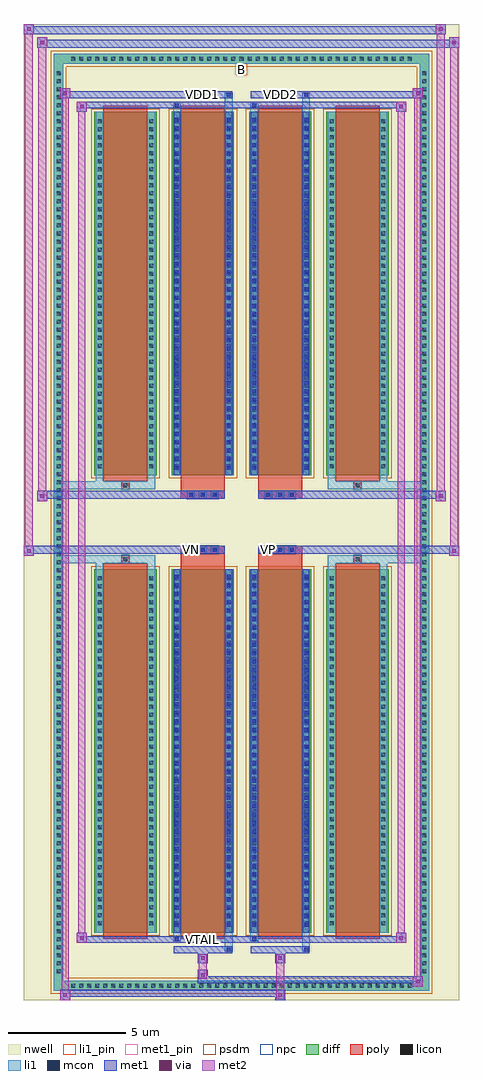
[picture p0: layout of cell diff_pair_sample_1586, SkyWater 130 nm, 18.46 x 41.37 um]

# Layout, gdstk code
import gdstk
lib = gdstk.Library(unit=1e-6, precision=5e-09)
def R(c, l, rs):  # rectangles x0, y0, x1, y1
    for r in rs: c.add(gdstk.rectangle(r[:2], r[2:], *l))
def A(c, l, x, y, w, h, nx, ny, dx, dy):  # array of equal rectangles
    R(c, l, [(x+i*dx, y+j*dy, x+i*dx+w, y+j*dy+h) for i in range(nx) for j in range(ny)])
def P(c, l, *ps):  # polygons
    for p in ps: c.add(gdstk.Polygon(p, *l))
nwell = (64, 20)
diff = (65, 20)
poly = (66, 20)
licon = (66, 44)
li1_pin = (67, 16)
li1 = (67, 20)
mcon = (67, 44)
met1_pin = (68, 16)
met1 = (68, 20)
via = (68, 44)
met2 = (69, 20)
psdm = (94, 20)
npc = (95, 20)

diff_pair_sample_1586 = lib.new_cell('diff_pair_sample_1586')
R(diff_pair_sample_1586, nwell, [(-9.23,-20.25,9.23,21.12), (-6.55,-18.44,-0.01,-0.8), (0.01,-18.44,6.55,-0.8), (-6.55,0.8,-0.01,18.44), (0.01,0.8,6.55,18.44)])
A(diff_pair_sample_1586, diff, -7.345, -19.85, 0.41, 0.41, 43, 2, 0.34, 39.29)
A(diff_pair_sample_1586, diff, -7.96, -19.245, 0.41, 0.41, 1, 113, 0, 0.34)
A(diff_pair_sample_1586, diff, 7.55, -19.245, 0.41, 0.41, 1, 113, 0, 0.34)
A(diff_pair_sample_1586, diff, -6.24, -17.395, 2.64, 15.41, 4, 2, 3.28, 19.38)
R(diff_pair_sample_1586, diff, [(-7.345,-19.85,7.345,-19.44), (-7.96,-19.245,-7.55,19.245), (7.55,-19.245,7.96,19.245), (-7.345,19.44,7.345,19.85)])
P(diff_pair_sample_1586, diff, [(7.96,19.85),(-7.96,19.85),(-7.96,-19.44),(-7.55,-19.44),(-7.55,19.44),(7.55,19.44),(7.55,-19.44),(-7.55,-19.44),(-7.96,-19.44),(-7.96,-19.85),(7.96,-19.85)])
A(diff_pair_sample_1586, poly, -5.85, -17.645, 1.86, 15.91, 4, 2, 3.28, 19.38)
A(diff_pair_sample_1586, poly, -2.305, -1.33, 0.33, 0.33, 3, 2, 0.5, 2.33)
A(diff_pair_sample_1586, poly, 0.975, -1.33, 0.33, 0.33, 3, 2, 0.5, 2.33)
R(diff_pair_sample_1586, poly, [(-5.085,-1.735,-4.755,-1.405), (-5.085,-1.735,-4.755,-1.405), (-2.57,-1.735,-0.71,-1.33), (0.71,-1.735,2.57,-1.33), (4.755,-1.735,5.085,-1.405), (4.755,-1.735,5.085,-1.405), (-2.57,-1.33,-0.71,-1), (0.71,-1.33,2.57,-1), (-2.57,1,-0.71,1.33), (0.71,1,2.57,1.33), (-2.57,1.33,-0.71,1.735), (0.71,1.33,2.57,1.735), (-5.085,1.405,-4.755,1.735), (-5.085,1.405,-4.755,1.735), (4.755,1.405,5.085,1.735), (4.755,1.405,5.085,1.735)])
A(diff_pair_sample_1586, licon, -7.225, -19.73, 0.17, 0.17, 43, 2, 0.34, 39.29)
A(diff_pair_sample_1586, licon, -7.84, -19.125, 0.17, 0.17, 1, 113, 0, 0.34)
A(diff_pair_sample_1586, licon, 7.67, -19.125, 0.17, 0.17, 1, 113, 0, 0.34)
A(diff_pair_sample_1586, licon, -6.1, -17.085, 0.17, 0.17, 1, 44, 0, 0.34)
A(diff_pair_sample_1586, licon, -3.91, -17.085, 0.17, 0.17, 1, 44, 0, 0.34)
A(diff_pair_sample_1586, licon, -2.82, -17.085, 0.17, 0.17, 1, 44, 0, 0.34)
A(diff_pair_sample_1586, licon, -0.63, -17.085, 0.17, 0.17, 1, 44, 0, 0.34)
A(diff_pair_sample_1586, licon, 0.46, -17.085, 0.17, 0.17, 1, 44, 0, 0.34)
A(diff_pair_sample_1586, licon, 2.65, -17.085, 0.17, 0.17, 1, 44, 0, 0.34)
A(diff_pair_sample_1586, licon, 3.74, -17.085, 0.17, 0.17, 1, 44, 0, 0.34)
A(diff_pair_sample_1586, licon, 5.93, -17.085, 0.17, 0.17, 1, 44, 0, 0.34)
A(diff_pair_sample_1586, licon, -2.225, -1.25, 0.17, 0.17, 3, 2, 0.5, 2.33)
A(diff_pair_sample_1586, licon, 1.055, -1.25, 0.17, 0.17, 3, 2, 0.5, 2.33)
A(diff_pair_sample_1586, licon, -6.1, 2.295, 0.17, 0.17, 1, 44, 0, 0.34)
A(diff_pair_sample_1586, licon, -3.91, 2.295, 0.17, 0.17, 1, 44, 0, 0.34)
A(diff_pair_sample_1586, licon, -2.82, 2.295, 0.17, 0.17, 1, 44, 0, 0.34)
A(diff_pair_sample_1586, licon, -0.63, 2.295, 0.17, 0.17, 1, 44, 0, 0.34)
A(diff_pair_sample_1586, licon, 0.46, 2.295, 0.17, 0.17, 1, 44, 0, 0.34)
A(diff_pair_sample_1586, licon, 2.65, 2.295, 0.17, 0.17, 1, 44, 0, 0.34)
A(diff_pair_sample_1586, licon, 3.74, 2.295, 0.17, 0.17, 1, 44, 0, 0.34)
A(diff_pair_sample_1586, licon, 5.93, 2.295, 0.17, 0.17, 1, 44, 0, 0.34)
R(diff_pair_sample_1586, licon, [(-5.005,-1.655,-4.835,-1.485), (4.835,-1.655,5.005,-1.485), (-5.005,1.485,-4.835,1.655), (4.835,1.485,5.005,1.655)])
R(diff_pair_sample_1586, li1_pin, [(-0.25,18.94,0.25,19.44)])
A(diff_pair_sample_1586, li1, -7.305, -19.81, 0.33, 0.33, 43, 2, 0.34, 39.29)
A(diff_pair_sample_1586, li1, -7.92, -19.205, 0.33, 0.33, 1, 113, 0, 0.34)
A(diff_pair_sample_1586, li1, 7.59, -19.205, 0.33, 0.33, 1, 113, 0, 0.34)
A(diff_pair_sample_1586, li1, -6.18, -17.165, 0.33, 0.33, 1, 44, 0, 0.34)
A(diff_pair_sample_1586, li1, -3.99, -17.165, 0.33, 0.33, 1, 44, 0, 0.34)
A(diff_pair_sample_1586, li1, -2.9, -17.165, 0.33, 0.33, 1, 44, 0, 0.34)
A(diff_pair_sample_1586, li1, -0.71, -17.165, 0.33, 0.33, 1, 44, 0, 0.34)
A(diff_pair_sample_1586, li1, 0.38, -17.165, 0.33, 0.33, 1, 44, 0, 0.34)
A(diff_pair_sample_1586, li1, 2.57, -17.165, 0.33, 0.33, 1, 44, 0, 0.34)
A(diff_pair_sample_1586, li1, 3.66, -17.165, 0.33, 0.33, 1, 44, 0, 0.34)
A(diff_pair_sample_1586, li1, 5.85, -17.165, 0.33, 0.33, 1, 44, 0, 0.34)
A(diff_pair_sample_1586, li1, -2.82, -17.155, 0.17, 0.17, 1, 42, 0, 0.36)
A(diff_pair_sample_1586, li1, -0.63, -17.155, 0.17, 0.17, 1, 42, 0, 0.36)
A(diff_pair_sample_1586, li1, 0.46, -17.155, 0.17, 0.17, 1, 42, 0, 0.36)
A(diff_pair_sample_1586, li1, 2.65, -17.155, 0.17, 0.17, 1, 42, 0, 0.36)
A(diff_pair_sample_1586, li1, -2.305, -1.33, 0.33, 0.33, 3, 2, 0.5, 2.33)
A(diff_pair_sample_1586, li1, 0.975, -1.33, 0.33, 0.33, 3, 2, 0.5, 2.33)
A(diff_pair_sample_1586, li1, -6.18, 2.215, 0.33, 0.33, 1, 44, 0, 0.34)
A(diff_pair_sample_1586, li1, -3.99, 2.215, 0.33, 0.33, 1, 44, 0, 0.34)
A(diff_pair_sample_1586, li1, -2.9, 2.215, 0.33, 0.33, 1, 44, 0, 0.34)
A(diff_pair_sample_1586, li1, -0.71, 2.215, 0.33, 0.33, 1, 44, 0, 0.34)
A(diff_pair_sample_1586, li1, 0.38, 2.215, 0.33, 0.33, 1, 44, 0, 0.34)
A(diff_pair_sample_1586, li1, 2.57, 2.215, 0.33, 0.33, 1, 44, 0, 0.34)
A(diff_pair_sample_1586, li1, 3.66, 2.215, 0.33, 0.33, 1, 44, 0, 0.34)
A(diff_pair_sample_1586, li1, 5.85, 2.215, 0.33, 0.33, 1, 44, 0, 0.34)
A(diff_pair_sample_1586, li1, -2.82, 2.225, 0.17, 0.17, 1, 42, 0, 0.36)
A(diff_pair_sample_1586, li1, -0.63, 2.225, 0.17, 0.17, 1, 42, 0, 0.36)
A(diff_pair_sample_1586, li1, 0.46, 2.225, 0.17, 0.17, 1, 42, 0, 0.36)
A(diff_pair_sample_1586, li1, 2.65, 2.225, 0.17, 0.17, 1, 42, 0, 0.36)
R(diff_pair_sample_1586, li1, [(-7.96,-19.85,-7.55,-19.44), (-7.96,-19.85,-7.55,-19.44), (-7.55,-19.85,7.55,-19.44), (7.55,-19.85,7.96,-19.44), (7.55,-19.85,7.96,-19.44), (-7.96,-19.44,-7.55,19.44), (7.55,-19.44,7.96,19.44), (-0.71,-18.2,-0.38,-17.395), (-0.63,-18.2,-0.46,-18.03), (2.57,-18.2,2.9,-17.395), (2.65,-18.2,2.82,-18.03), (-2.9,-17.77,-2.57,-17.395), (-2.82,-17.77,-2.65,-17.6), (0.38,-17.77,0.71,-17.395), (0.46,-17.77,0.63,-17.6), (-6.18,-17.395,-5.85,-1.985), (-3.99,-17.395,-3.66,-1.985), (-2.9,-17.395,-2.57,-1.985), (-0.71,-17.395,-0.38,-1.985), (0.38,-17.395,0.71,-1.985), (2.57,-17.395,2.9,-1.985), (3.66,-17.395,3.99,-1.985), (5.85,-17.395,6.18,-1.985), (-2.82,-17.155,-2.65,-2.225), (-0.63,-17.155,-0.46,-2.225), (0.46,-17.155,0.63,-2.225), (2.65,-17.155,2.82,-2.225), (-6.18,-1.985,-5.85,-1.405), (-3.99,-1.985,-3.66,-1.405), (3.66,-1.985,3.99,-1.405), (5.85,-1.985,6.18,-1.405), (-7.96,-1.735,-5.085,-1.405), (-6.18,-1.735,-5.085,-1.405), (-5.085,-1.735,-4.755,-1.405), (-4.755,-1.735,-3.66,-1.405), (3.66,-1.735,4.755,-1.405), (4.755,-1.735,5.085,-1.405), (4.755,-1.735,7.96,-1.405), (5.085,-1.735,6.18,-1.405), (-7.96,1.405,-5.085,1.735), (-6.18,1.405,-5.085,1.735), (-6.18,1.405,-5.85,1.985), (-5.085,1.405,-4.755,1.735), (-4.755,1.405,-3.66,1.735), (-3.99,1.405,-3.66,1.985), (3.66,1.405,4.755,1.735), (3.66,1.405,3.99,1.985), (4.755,1.405,5.085,1.735), (4.755,1.405,7.96,1.735), (5.085,1.405,6.18,1.735), (5.85,1.405,6.18,1.985), (-6.18,1.985,-5.85,17.395), (-3.99,1.985,-3.66,17.395), (-2.9,1.985,-2.57,17.395), (-0.71,1.985,-0.38,17.395), (0.38,1.985,0.71,17.395), (2.57,1.985,2.9,17.395), (3.66,1.985,3.99,17.395), (5.85,1.985,6.18,17.395), (-2.82,2.225,-2.65,17.155), (-0.63,2.225,-0.46,17.155), (0.46,2.225,0.63,17.155), (2.65,2.225,2.82,17.155), (-2.9,17.395,-2.57,17.77), (-0.71,17.395,-0.38,18.2), (0.38,17.395,0.71,17.77), (2.57,17.395,2.9,18.2), (-2.82,17.6,-2.65,17.77), (0.46,17.6,0.63,17.77), (-0.63,18.03,-0.46,18.2), (2.65,18.03,2.82,18.2), (-7.96,19.44,-7.55,19.85), (-7.96,19.44,-7.55,19.85), (-7.55,19.44,7.55,19.85), (7.55,19.44,7.96,19.85), (7.55,19.44,7.96,19.85)])
A(diff_pair_sample_1586, mcon, -2.82, -17.155, 0.17, 0.17, 1, 42, 0, 0.36)
A(diff_pair_sample_1586, mcon, -0.63, -17.155, 0.17, 0.17, 1, 42, 0, 0.36)
A(diff_pair_sample_1586, mcon, 0.46, -17.155, 0.17, 0.17, 1, 42, 0, 0.36)
A(diff_pair_sample_1586, mcon, 2.65, -17.155, 0.17, 0.17, 1, 42, 0, 0.36)
A(diff_pair_sample_1586, mcon, -2.225, -1.25, 0.17, 0.17, 3, 2, 0.5, 2.33)
A(diff_pair_sample_1586, mcon, 1.055, -1.25, 0.17, 0.17, 3, 2, 0.5, 2.33)
A(diff_pair_sample_1586, mcon, -2.82, 2.225, 0.17, 0.17, 1, 42, 0, 0.36)
A(diff_pair_sample_1586, mcon, -0.63, 2.225, 0.17, 0.17, 1, 42, 0, 0.36)
A(diff_pair_sample_1586, mcon, 0.46, 2.225, 0.17, 0.17, 1, 42, 0, 0.36)
A(diff_pair_sample_1586, mcon, 2.65, 2.225, 0.17, 0.17, 1, 42, 0, 0.36)
R(diff_pair_sample_1586, mcon, [(-0.63,-18.2,-0.46,-18.03), (2.65,-18.2,2.82,-18.03), (-2.82,-17.77,-2.65,-17.6), (0.46,-17.77,0.63,-17.6), (-2.82,17.6,-2.65,17.77), (0.46,17.6,0.63,17.77), (-0.63,18.03,-0.46,18.2), (2.65,18.03,2.82,18.2)])
R(diff_pair_sample_1586, met1_pin, [(-1.775,-17.81,-1.505,-17.54), (-2.275,-1.29,-2.005,-1.02), (1.005,-1.29,1.275,-1.02), (-1.775,17.99,-1.505,18.26), (1.505,17.99,1.775,18.26)])
A(diff_pair_sample_1586, met1, -2.88, -17.215, 0.29, 0.29, 1, 42, 0, 0.36)
A(diff_pair_sample_1586, met1, -0.69, -17.215, 0.29, 0.29, 1, 42, 0, 0.36)
A(diff_pair_sample_1586, met1, 0.4, -17.215, 0.29, 0.29, 1, 42, 0, 0.36)
A(diff_pair_sample_1586, met1, 2.59, -17.215, 0.29, 0.29, 1, 42, 0, 0.36)
A(diff_pair_sample_1586, met1, -2.285, -1.31, 0.29, 0.29, 3, 2, 0.5, 2.33)
A(diff_pair_sample_1586, met1, 0.995, -1.31, 0.29, 0.29, 3, 2, 0.5, 2.33)
A(diff_pair_sample_1586, met1, -2.88, 2.165, 0.29, 0.29, 1, 42, 0, 0.36)
A(diff_pair_sample_1586, met1, -0.69, 2.165, 0.29, 0.29, 1, 42, 0, 0.36)
A(diff_pair_sample_1586, met1, 0.4, 2.165, 0.29, 0.29, 1, 42, 0, 0.36)
A(diff_pair_sample_1586, met1, 2.59, 2.165, 0.29, 0.29, 1, 42, 0, 0.36)
R(diff_pair_sample_1586, met1, [(-7.69,-20.25,-7.26,-19.82), (1.425,-20.25,1.855,-19.82), (-7.69,-20.11,1.855,-19.82), (7.26,-19.68,7.69,-19.25), (-1.855,-19.54,7.69,-19.25), (-1.855,-19.4,-1.425,-18.97), (-1.855,-18.69,-1.425,-18.26), (1.425,-18.69,1.855,-18.26), (-2.88,-18.26,-0.4,-17.97), (-0.69,-18.26,-0.4,-17.97), (0.4,-18.26,2.88,-17.97), (2.59,-18.26,2.88,-17.97), (-6.98,-17.83,-6.55,-17.4), (-6.98,-17.83,-2.88,-17.54), (-2.88,-17.83,-2.59,-17.54), (-2.88,-17.83,-0.4,-17.54), (-0.4,-17.83,0.4,-17.54), (0.4,-17.83,0.69,-17.54), (0.4,-17.83,2.88,-17.54), (2.88,-17.83,6.98,-17.54), (6.55,-17.83,6.98,-17.4), (-2.88,-17.395,-2.59,-1.985), (-0.69,-17.395,-0.4,-1.985), (0.4,-17.395,0.69,-1.985), (2.59,-17.395,2.88,-1.985), (-9.23,-1.43,-8.8,-1), (8.8,-1.43,9.23,-1), (-9.23,-1.33,-0.71,-1), (-2.57,-1.33,-0.71,-1), (0.71,-1.33,2.57,-1), (0.71,-1.33,9.23,-1), (-8.66,0.9,-8.23,1.33), (8.23,0.9,8.66,1.33), (-8.66,1,-2.57,1.33), (-2.57,1,-0.71,1.33), (0.71,1,2.57,1.33), (2.57,1,8.66,1.33), (-2.88,1.985,-2.59,17.395), (-0.69,1.985,-0.4,17.395), (0.4,1.985,0.69,17.395), (2.59,1.985,2.88,17.395), (-6.98,17.4,-6.55,17.83), (6.55,17.4,6.98,17.83), (-6.98,17.54,-2.88,17.83), (-2.88,17.54,-2.59,17.83), (-2.88,17.54,-0.4,17.83), (-0.4,17.54,0.4,17.83), (0.4,17.54,0.69,17.83), (0.4,17.54,2.88,17.83), (2.88,17.54,6.98,17.83), (-7.69,17.97,-7.26,18.4), (-7.69,17.97,-2.88,18.26), (-2.88,17.97,-0.4,18.26), (-0.69,17.97,-0.4,18.26), (0.4,17.97,2.88,18.26), (2.59,17.97,2.88,18.26), (2.88,17.97,7.69,18.26), (7.26,17.97,7.69,18.4), (-8.66,20.12,-8.23,20.55), (-8.66,20.12,-6.55,20.45), (-6.55,20.12,6.55,20.45), (6.55,20.12,9.23,20.45), (8.8,20.12,9.23,20.55), (-9.23,20.69,-8.8,21.12), (-9.23,20.69,-6.55,21.02), (-6.55,20.69,6.55,21.02), (6.55,20.69,8.66,21.02), (8.23,20.69,8.66,21.12)])
R(diff_pair_sample_1586, via, [(-7.55,-20.11,-7.4,-19.96), (1.565,-20.11,1.715,-19.96), (7.4,-19.54,7.55,-19.39), (-1.715,-19.26,-1.565,-19.11), (-1.715,-18.55,-1.565,-18.4), (1.565,-18.55,1.715,-18.4), (-6.84,-17.69,-6.69,-17.54), (6.69,-17.69,6.84,-17.54), (-9.09,-1.29,-8.94,-1.14), (8.94,-1.29,9.09,-1.14), (-8.52,1.04,-8.37,1.19), (8.37,1.04,8.52,1.19), (-6.84,17.54,-6.69,17.69), (6.69,17.54,6.84,17.69), (-7.55,18.11,-7.4,18.26), (7.4,18.11,7.55,18.26), (-8.52,20.26,-8.37,20.41), (8.94,20.26,9.09,20.41), (-9.09,20.83,-8.94,20.98), (8.37,20.83,8.52,20.98)])
R(diff_pair_sample_1586, met2, [(-7.69,-20.25,-7.26,-19.82), (-7.62,-20.25,-7.33,18.4), (-7.33,-20.25,-7.26,-19.82), (-7.64,-20.2,-7.31,-19.87), (1.475,-20.2,1.805,-19.87), (1.475,-19.87,1.805,-18.64), (7.26,-19.68,7.69,-19.25), (7.33,-19.68,7.62,18.4), (7.62,-19.68,7.69,-19.25), (7.31,-19.63,7.64,-19.3), (-1.805,-19.35,-1.475,-19.02), (-1.805,-19.02,-1.475,-18.64), (-1.805,-18.64,-1.475,-18.31), (1.475,-18.64,1.805,-18.31), (-6.98,-17.83,-6.55,-17.4), (-6.91,-17.83,-6.62,17.83), (-6.62,-17.83,-6.55,-17.4), (6.55,-17.83,6.98,-17.4), (6.62,-17.83,6.91,17.83), (6.91,-17.83,6.98,-17.4), (-6.93,-17.78,-6.6,-17.45), (6.6,-17.78,6.93,-17.45), (-9.23,-1.43,-8.8,-1), (-9.18,-1.43,-8.85,21.12), (-8.85,-1.43,-8.8,-1), (8.8,-1.43,9.23,-1), (8.85,-1.43,9.18,20.55), (9.18,-1.43,9.23,-1), (-9.18,-1.38,-8.85,-1.05), (8.85,-1.38,9.18,-1.05), (-8.66,0.9,-8.23,1.33), (-8.61,0.9,-8.28,20.55), (-8.28,0.9,-8.23,1.33), (8.23,0.9,8.66,1.33), (8.28,0.9,8.61,21.12), (8.61,0.9,8.66,1.33), (-8.61,0.95,-8.28,1.28), (8.28,0.95,8.61,1.28), (-6.98,17.4,-6.55,17.83), (-6.62,17.4,-6.55,17.83), (6.55,17.4,6.98,17.83), (6.91,17.4,6.98,17.83), (-6.93,17.45,-6.6,17.78), (6.6,17.45,6.93,17.78), (-7.69,17.97,-7.26,18.4), (-7.33,17.97,-7.26,18.4), (7.26,17.97,7.69,18.4), (7.62,17.97,7.69,18.4), (-7.64,18.02,-7.31,18.35), (7.31,18.02,7.64,18.35), (-8.66,20.12,-8.23,20.55), (-8.28,20.12,-8.23,20.55), (8.8,20.12,9.23,20.55), (9.18,20.12,9.23,20.55), (-8.61,20.17,-8.28,20.5), (8.85,20.17,9.18,20.5), (-9.23,20.69,-8.8,21.12), (-8.85,20.69,-8.8,21.12), (8.23,20.69,8.66,21.12), (8.61,20.69,8.66,21.12), (-9.18,20.74,-8.85,21.07), (8.28,20.74,8.61,21.07)])
A(diff_pair_sample_1586, psdm, -6.37, -17.525, 2.9, 15.67, 4, 2, 3.28, 19.38)
P(diff_pair_sample_1586, psdm, [(8.09,19.98),(-8.09,19.98),(-8.09,-19.31),(-7.42,-19.31),(-7.42,19.31),(7.42,19.31),(7.42,-19.31),(-7.42,-19.31),(-8.09,-19.31),(-8.09,-19.98),(8.09,-19.98)])
A(diff_pair_sample_1586, npc, -2.325, -1.35, 0.37, 0.37, 3, 2, 0.5, 2.33)
A(diff_pair_sample_1586, npc, 0.955, -1.35, 0.37, 0.37, 3, 2, 0.5, 2.33)
R(diff_pair_sample_1586, npc, [(-5.105,-1.755,-4.735,-1.385), (4.735,-1.755,5.105,-1.385), (-2.325,-1.35,-1.455,-0.98), (-2.325,-1.35,-1.455,-0.98), (-1.825,-1.35,-0.955,-0.98), (-1.825,-1.35,-0.955,-0.98), (0.955,-1.35,1.825,-0.98), (0.955,-1.35,1.825,-0.98), (1.455,-1.35,2.325,-0.98), (1.455,-1.35,2.325,-0.98), (-2.325,0.98,-1.455,1.35), (-2.325,0.98,-1.455,1.35), (-1.825,0.98,-0.955,1.35), (-1.825,0.98,-0.955,1.35), (0.955,0.98,1.825,1.35), (0.955,0.98,1.825,1.35), (1.455,0.98,2.325,1.35), (1.455,0.98,2.325,1.35), (-5.105,1.385,-4.735,1.755), (4.735,1.385,5.105,1.755)])
diff_pair_sample_1586.add(gdstk.Label('VTAIL', (-1.64,-17.675), layer=68, texttype=5))
diff_pair_sample_1586.add(gdstk.Label('VN', (-2.14,-1.155), layer=68, texttype=5))
diff_pair_sample_1586.add(gdstk.Label('VP', (1.14,-1.155), layer=68, texttype=5))
diff_pair_sample_1586.add(gdstk.Label('B', (0,19.19), layer=67, texttype=5))
diff_pair_sample_1586.add(gdstk.Label('VDD2', (1.64,18.125), layer=68, texttype=5))
diff_pair_sample_1586.add(gdstk.Label('VDD1', (-1.64,18.125), layer=68, texttype=5))

lib.write_gds('diff_pair_sample_1586.gds')
